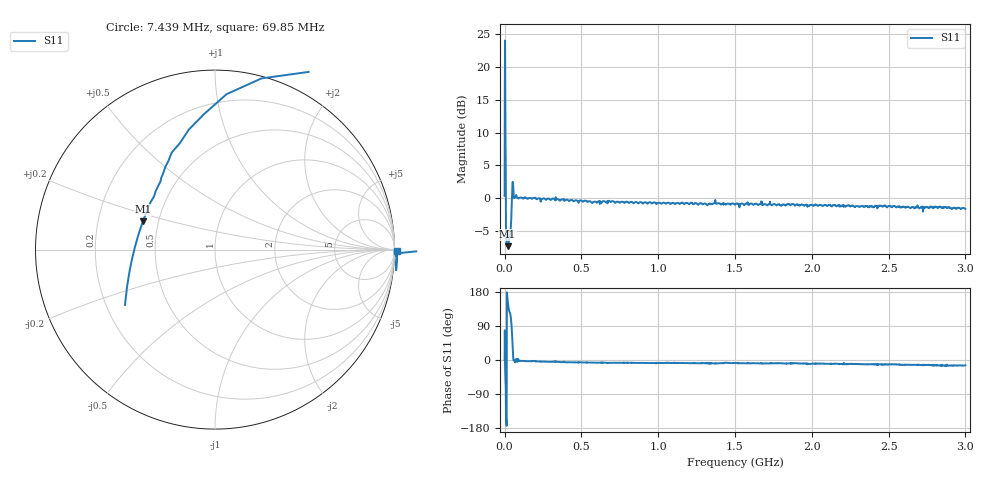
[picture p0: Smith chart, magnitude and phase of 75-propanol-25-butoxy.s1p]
# HZ S RI R 50
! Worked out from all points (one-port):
!   2020 points, 10 kHz to 3 GHz, reference 50 ohm
!   lowest |S11| = -7.3 dB at 19.33 MHz (marker M1), VSWR 2.52, Z = 20.4 + j7.88 ohm
!   |S11| at or under -10 dB: nowhere
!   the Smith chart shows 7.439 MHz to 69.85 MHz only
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10000  1.044 -0.00641
7439395  0.556 -1.626
1.635467e7  -0.432 0.0651
1.784055e7  -0.4168 0.1131
1.932643e7  -0.4019 0.1568
2.081231e7  -0.3871 0.1962
2.229818e7  -0.3725 0.2324
2.378406e7  -0.3577 0.2665
2.972758e7  -0.3037 0.3794
3.269934e7  -0.299 0.401
3.56711e7  -0.2856 0.4334
3.864285e7  -0.2597 0.4933
4.607225e7  0.0642 0.8659
5.795928e7  1.121 -0.00978
6.241692e7  1.004 -0.0197
6.687456e7  1.012 -0.0313
6.984631e7  1.015 -0.00645
7.281807e7  1.017 -0.0437
9.510626e7  1.003 -0.0413
3.759374e8  0.9748 -0.0982
5.750452e8  0.9241 -0.1126
7.503789e8  0.9151 -0.1154
1.126306e9  0.9139 -0.1291
1.500748e9  0.8837 -0.125
1.875189e9  0.8927 -0.1384
2.251117e9  0.8524 -0.1529
2.625558e9  0.8391 -0.188
3e9  0.8039 -0.2018
